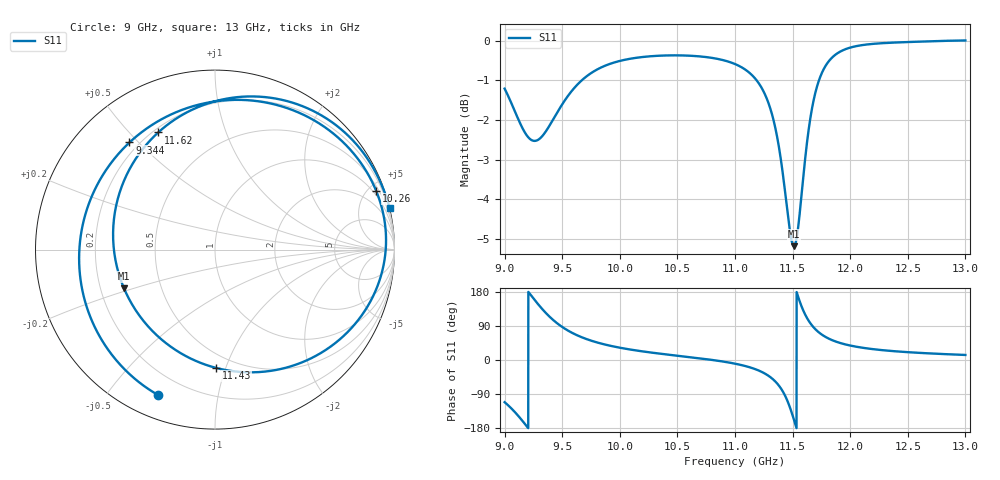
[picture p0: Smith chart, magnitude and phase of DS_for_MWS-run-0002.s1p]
! TOUCHSTONE file generated by CST DESIGN STUDIO
! Date and time: Tue Feb  4 15:52:00 2025
! Project name: C:\Work\MatlabApps\UnitCellOptimizationMatlab\CST\unitcell.cst
! Tree item: Tasks\Sweep1\SPara1\S-Parameters
! Header version: 2024
! Port assignment regex: !\s*Touchstone port\s*([0-9]+)\s*=\s*(CST MWS port|CST DES external port|CST DES block port)\s*(.+)\s* \(\"(.*)\"\)(\s*mode\s*([0-9]+))?.*
! Touchstone port assignment:
! Touchstone port 1 = CST DES external port 1 ("")
# GHz S MA R 50
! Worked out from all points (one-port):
!   4001 points, 9 GHz to 13 GHz, reference 50 ohm
!   lowest |S11| = -5.2 dB at 11.51 GHz (marker M1), VSWR 3.45, Z = 15 - j9.3 ohm
!   |S11| at or under -10 dB: nowhere
!   S11 on the Smith chart (normalised r, x): 9 GHz: 0.10, -0.68; 9.344 GHz: 0.16, +0.47; 10.26 GHz: 0.74, +5.59; 11.43 GHz: 0.40, -0.93; 11.62 GHz: 0.22, +0.60; 13 GHz: -0.03, +8.57
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9  0.8702 -111.3
9.082  0.8193 -135.1
9.182  0.7637 -171.0
9.256  0.7479 160.3
9.344  0.7637 128.6
9.418  0.7943 106.5
9.5  0.8314 87.2
9.606  0.8723 68.6
9.718  0.9034 54.5
10  0.943 32.4
10.264  0.9558 20.0
10.5  0.9584 11.3
11  0.9346 -9.7
11.157  0.9021 -22.1
11.267  0.8514 -37.1
11.351  0.7754 -57.0
11.427  0.659 -89.5
11.464  0.5944 -114.5
11.5  0.554 -146.2
11.511  0.551 -157.0
11.559  0.6007 157.0
11.616  0.7254 115.8
11.682  0.8407 86.3
11.779  0.9259 62.1
11.875  0.961 48.7
12  0.9802 38.2
12.5  0.9962 20.7
13  1.001 13.3
